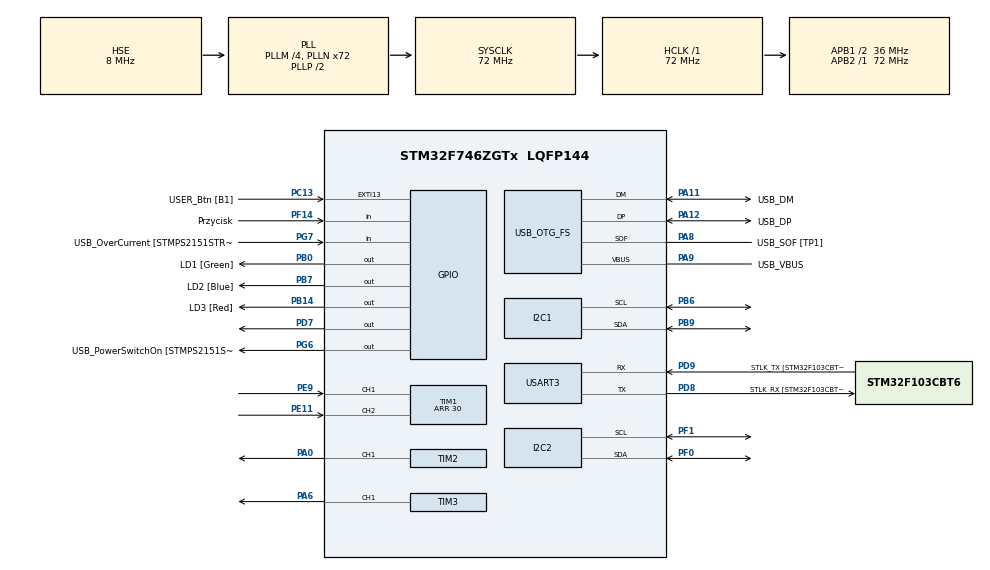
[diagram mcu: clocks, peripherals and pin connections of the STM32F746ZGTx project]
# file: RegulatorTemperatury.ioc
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I2C1.Timing=0x00808CD2
I2C2.Timing=0x00808CD2
Mcu.Family=STM32F7
Mcu.Name=STM32F746ZGTx
Mcu.Package=LQFP144
NVIC.PriorityGroup=NVIC_PRIORITYGROUP_4
NVIC.USART3_IRQn=true\:0\:0\:false\:false\:true\:true\:true\:true
PA0/WKUP.Signal=S_TIM2_CH1_ETR
PA1.GPIO_Label=RMII_REF_CLK [LAN8742A-CZ-TR_REFCLK0]
PA1.Signal=ETH_REF_CLK
PA10.GPIO_Label=USB_ID
PA10.Signal=USB_OTG_FS_ID
PA11.GPIO_Label=USB_DM
PA11.Mode=Device_Only
PA11.Signal=USB_OTG_FS_DM
PA12.GPIO_Label=USB_DP
PA12.Mode=Device_Only
PA12.Signal=USB_OTG_FS_DP
PA13.GPIO_Label=TMS
PA13.Mode=Serial_Wire
PA13.Signal=SYS_JTMS-SWDIO
PA14.GPIO_Label=TCK
PA14.Mode=Serial_Wire
PA14.Signal=SYS_JTCK-SWCLK
PA2.GPIO_Label=RMII_MDIO [LAN8742A-CZ-TR_MDIO]
PA2.Signal=ETH_MDIO
PA6.Signal=S_TIM3_CH1
PA7.GPIO_Label=RMII_CRS_DV [LAN8742A-CZ-TR_CRS_DV]
PA7.Signal=ETH_CRS_DV
PA8.GPIO_Label=USB_SOF [TP1]
PA8.Mode=Activate_SOF_FS
PA8.Signal=USB_OTG_FS_SOF
PA9.GPIO_Label=USB_VBUS
PA9.Mode=Activate_VBUS
PA9.Signal=USB_OTG_FS_VBUS
PB0.GPIO_Label=LD1 [Green]
PB0.Signal=GPIO_Output
PB13.GPIO_Label=RMII_TXD1 [LAN8742A-CZ-TR_TXD1]
PB13.Signal=ETH_TXD1
PB14.GPIO_Label=LD3 [Red]
PB14.Signal=GPIO_Output
PB3.GPIO_Label=SW0
PB3.Signal=SYS_JTDO-SWO
PB6.Mode=I2C
PB6.Signal=I2C1_SCL
PB7.GPIO_Label=LD2 [Blue]
PB7.Signal=GPIO_Output
PB9.Mode=I2C
PB9.Signal=I2C1_SDA
PC1.GPIO_Label=RMII_MDC [LAN8742A-CZ-TR_MDC]
PC1.Signal=ETH_MDC
PC13.GPIO_Label=USER_Btn [B1]
PC13.Signal=GPXTI13
PC14/OSC32_IN.Mode=LSE-External-Oscillator
PC14/OSC32_IN.Signal=RCC_OSC32_IN
PC15/OSC32_OUT.Mode=LSE-External-Oscillator
PC15/OSC32_OUT.Signal=RCC_OSC32_OUT
PC4.GPIO_Label=RMII_RXD0 [LAN8742A-CZ-TR_RXD0]
PC4.Signal=ETH_RXD0
PC5.GPIO_Label=RMII_RXD1 [LAN8742A-CZ-TR_RXD1]
PC5.Signal=ETH_RXD1
PD7.Signal=GPIO_Output
PD8.GPIO_Label=STLK_RX [STM32F103CBT6_PA3]
PD8.GPIO_PuPd=GPIO_PULLUP
PD8.Mode=Asynchronous
PD8.Signal=USART3_TX
PD9.GPIO_Label=STLK_TX [STM32F103CBT6_PA2]
PD9.GPIO_PuPd=GPIO_PULLUP
PD9.Mode=Asynchronous
PD9.Signal=USART3_RX
PE11.Signal=S_TIM1_CH2
PE9.Signal=S_TIM1_CH1
PF0.Mode=I2C
PF0.Signal=I2C2_SDA
PF1.Mode=I2C
PF1.Signal=I2C2_SCL
PF14.GPIO_Label=Przycisk
PF14.GPIO_PuPd=GPIO_PULLUP
PF14.Signal=GPIO_Input
PG11.GPIO_Label=RMII_TX_EN [LAN8742A-CZ-TR_TXEN]
PG11.Signal=ETH_TX_EN
PG13.GPIO_Label=RMII_TXD0 [LAN8742A-CZ-TR_TXD0]
PG13.Signal=ETH_TXD0
PG6.GPIO_Label=USB_PowerSwitchOn [STMPS2151STR_EN]
PG6.Signal=GPIO_Output
PG7.GPIO_Label=USB_OverCurrent [STMPS2151STR_FAULT]
PG7.Signal=GPIO_Input
PH0/OSC_IN.GPIO_Label=MCO [STM32F103CBT6_PA8]
PH0/OSC_IN.Mode=HSE-External-Clock-Source
PH0/OSC_IN.Signal=RCC_OSC_IN
PH1/OSC_OUT.Mode=HSE-External-Clock-Source
PH1/OSC_OUT.Signal=RCC_OSC_OUT
ProjectManager.HeapSize=0x200
ProjectManager.StackSize=0x400
ProjectManager.TargetToolchain=STM32CubeIDE
RCC.48MHZClocksFreq_Value=24000000
RCC.AHBFreq_Value=72000000
RCC.APB1CLKDivider=RCC_HCLK_DIV2
RCC.APB1Freq_Value=36000000
RCC.APB1TimFreq_Value=72000000
RCC.APB2Freq_Value=72000000
RCC.APB2TimFreq_Value=72000000
RCC.CortexFreq_Value=72000000
RCC.HCLKFreq_Value=72000000
RCC.HSE_VALUE=8000000
RCC.HSI_VALUE=16000000
RCC.PLLM=4
RCC.PLLMUL=RCC_PLL_MUL9
RCC.PLLN=72
RCC.PLLQ=3
RCC.PRESCALERUSB=RCC_USBCLKSOURCE_PLL_DIV1_5
RCC.SYSCLKFreq_VALUE=72000000
RCC.SYSCLKSource=RCC_SYSCLKSOURCE_PLLCLK
RCC.SYSCLKSourceVirtual=RCC_SYSCLKSOURCE_PLLCLK
RCC.USBFreq_Value=48000000
RCC.VCOOutputFreq_Value=144000000
SH.S_TIM1_CH1.0=TIM1_CH1,Encoder_Interface
SH.S_TIM1_CH2.0=TIM1_CH2,Encoder_Interface
SH.S_TIM2_CH1_ETR.0=TIM2_CH1,PWM Generation1 CH1
SH.S_TIM3_CH1.0=TIM3_CH1,PWM Generation1 CH1
TIM1.Period=30
TIM2.Channel-PWM\ Generation1\ CH1=TIM_CHANNEL_1
TIM2.Period=49
TIM3.Channel-PWM\ Generation1\ CH1=TIM_CHANNEL_1
TIM3.Period=49
USART3.VirtualMode-Asynchronous=VM_ASYNC
USB_OTG_FS.VirtualMode=Device_Only
VP_TIM2_VS_ClockSourceINT.Mode=Internal
VP_TIM3_VS_ClockSourceINT.Mode=Internal
board=NUCLEO-F746ZG

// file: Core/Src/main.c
/* USER CODE BEGIN Header */
/**
  ******************************************************************************
  * @file           : main.c
  * @brief          : Main program body
  ******************************************************************************
  * @attention
  *
  * Copyright (c) 2024 STMicroelectronics.
  * All rights reserved.
  *
  * This software is licensed under terms that can be found in the LICENSE file
  * in the root directory of this software component.
  * If no LICENSE file comes with this software, it is provided AS-IS.
  *
  ******************************************************************************
  */
/* USER CODE END Header */
#include "main.h"

/* USER CODE BEGIN Includes */
#include "BMPXX80.h"
#include "i2c-lcd.h"

#include <stdio.h>
#include <string.h>
#include <stdbool.h>
#include <stdlib.h>
/* USER CODE END Includes */

/* USER CODE BEGIN PM */
#define COUNTOF(__BUFFER__) (sizeof(__BUFFER__)/sizeof(*(__BUFFER__)))
/* USER CODE END PM */

I2C_HandleTypeDef hi2c1;
I2C_HandleTypeDef hi2c2;

TIM_HandleTypeDef htim1;
TIM_HandleTypeDef htim2;
TIM_HandleTypeDef htim3;

UART_HandleTypeDef huart3;

PCD_HandleTypeDef hpcd_USB_OTG_FS;

/* USER CODE BEGIN PV */
float temperature, huminidity;
float temp_zadana=25.0;
int32_t pressure;
char tx_zadana[2];
bool sterowanie = true;
bool button = 0;
bool good_number = true;
float temp_poczatkowa = 20.0;
char tekst[30];
/* USER CODE END PV */

void SystemClock_Config(void);
static void MX_GPIO_Init(void);
static void MX_USART3_UART_Init(void);
static void MX_USB_OTG_FS_PCD_Init(void);
static void MX_I2C1_Init(void);
static void MX_I2C2_Init(void);
static void MX_TIM1_Init(void);
static void MX_TIM2_Init(void);
static void MX_TIM3_Init(void);

/* USER CODE BEGIN 0 */
float dt=1,  pid_output;

typedef struct{
	float Kp;
	float Ki;
	float Kd;
	float dt;
	float previous_error, previous_integral;
}pid_t;

float calculate_pid(pid_t* pid, float yr, float y){
	float u=0, P, I, D, e, integral, derivative;

	e = yr-y;
	//proportional part
	P = pid->Kp * e;

	//integral part
	integral = pid->previous_integral + (e+pid->previous_error);
	if(integral > 500.0) integral = 500.0;
	if(integral < -500.0) integral = -500.0;
	pid->previous_integral = integral;
	I = pid->Ki*integral*(pid->dt/2.0);

	//derivative part
	derivative = (e - pid->previous_error)/pid->dt;
	pid->previous_error = e;
	D = pid->Kd*derivative;
	//sum of all parts
	u = (P  + I + D); //without saturation
	if (u > 49.0)
	{
		u = 49.0;
	}
	else if (u < -49)
	{
		u = -49;
	}
	return u;
}

void lcd_zakres()
{
	lcd_clear();
	lcd_put_cur(0, 0);
	lcd_send_string("Wprowadz wartosc");
	lcd_put_cur(1, 0);
	sprintf((char*)tekst, "z zakresu %.f-%.fC", temp_poczatkowa, temp_poczatkowa+15.0);
	lcd_send_string(tekst);
	good_number = true;
	HAL_Delay(2000);
}

/* USER CODE END 0 */

int main(void)
{
  /* USER CODE BEGIN 1 */
  #define MAX_LENGTH 30
  char text[MAX_LENGTH];
  /* USER CODE END 1 */

  /* MCU Configuration--------------------------------------------------------*/

  /* Reset of all peripherals, Initializes the Flash interface and the Systick. */
  HAL_Init();

  /* Configure the system clock */
  SystemClock_Config();

  /* Initialize all configured peripherals */
  MX_GPIO_Init();
  MX_USART3_UART_Init();
  MX_USB_OTG_FS_PCD_Init();
  MX_I2C1_Init();
  MX_I2C2_Init();
  MX_TIM1_Init();
  MX_TIM2_Init();
  MX_TIM3_Init();
  /* USER CODE BEGIN 2 */
  BMP280_Init(&hi2c2, BMP280_TEMPERATURE_16BIT, BMP280_STANDARD, BMP280_FORCEDMODE);
  lcd_init ();
  lcd_send_string ("Czujnik BMP280");
  HAL_Delay(100);
  lcd_put_cur(1, 0);
  lcd_send_string("I2C1-BMP,I2C4-LCD");
  HAL_Delay(2000);
  HAL_TIM_PWM_Start(&htim2, TIM_CHANNEL_1);
  HAL_TIM_PWM_Start(&htim3, TIM_CHANNEL_1);
  HAL_TIM_Encoder_Start(&htim1, TIM_CHANNEL_ALL);
  pid_t pid1 = { .Kp=42.71, .Ki=0.1323, .Kd=0.0, .dt=dt, .previous_error=0, .previous_integral=0};

  /* USER CODE END 2 */

  /* Infinite loop */
  while (1)
  {

    /* USER CODE BEGIN 3 */
	BMP280_ReadTemperatureAndPressure(&temperature, &pressure);
	sprintf((char*)text, "%.2f, \n\r", temperature);
	if (HAL_GPIO_ReadPin(Przycisk_GPIO_Port, Przycisk_Pin) == GPIO_PIN_RESET)
	{
		sterowanie = !sterowanie;
		while (HAL_GPIO_ReadPin(Przycisk_GPIO_Port, Przycisk_Pin) == GPIO_PIN_RESET)
		{
			BMP280_ReadTemperatureAndPressure(&temperature, &pressure);
	 	}
	}
	if(sterowanie)
	{
		HAL_UART_Transmit(&huart3, (uint8_t*)text, strlen(text), 800);
		temp_zadana = (float)__HAL_TIM_GET_COUNTER(&htim1)/2 + temp_poczatkowa;
	}
	else
	{
		HAL_UART_Receive_IT(&huart3, (uint8_t*)tx_zadana, 2);
		if (!good_number)
		{
			lcd_zakres();
		}
	}
	lcd_clear ();
	lcd_put_cur(0, 0);
	sprintf((char*)text, "Temp.  %.2f  C", temperature);
	lcd_send_string(text);
	lcd_put_cur(1, 0);

	sprintf((char*)text, "T_zad. %.2f  C", temp_zadana);
	lcd_send_string(text);

	pid_output = calculate_pid(&pid1, temp_zadana, temperature);
	__HAL_TIM_SET_COMPARE(&htim2, TIM_CHANNEL_1, (int)pid_output);
	if(pid_output>0.0)
	{

		__HAL_TIM_SET_COMPARE(&htim2, TIM_CHANNEL_1, (int)pid_output);
		__HAL_TIM_SET_COMPARE(&htim3, TIM_CHANNEL_1, 0);
	}
	else
	{
		__HAL_TIM_SET_COMPARE(&htim3, TIM_CHANNEL_1, (-1)*(int)pid_output);
		__HAL_TIM_SET_COMPARE(&htim2, TIM_CHANNEL_1, 0);
	}
	HAL_Delay(1000);

  }
  /* USER CODE END 3 */
}

void SystemClock_Config(void)
{
  RCC_OscInitTypeDef RCC_OscInitStruct = {0};
  RCC_ClkInitTypeDef RCC_ClkInitStruct = {0};

  /** Configure LSE Drive Capability
  */
  HAL_PWR_EnableBkUpAccess();

  /** Configure the main internal regulator output voltage
  */
  __HAL_RCC_PWR_CLK_ENABLE();
  __HAL_PWR_VOLTAGESCALING_CONFIG(PWR_REGULATOR_VOLTAGE_SCALE3);

  /** Initializes the RCC Oscillators according to the specified parameters
  * in the RCC_OscInitTypeDef structure.
  */
  RCC_OscInitStruct.OscillatorType = RCC_OSCILLATORTYPE_HSE;
  RCC_OscInitStruct.HSEState = RCC_HSE_BYPASS;
  RCC_OscInitStruct.PLL.PLLState = RCC_PLL_ON;
  RCC_OscInitStruct.PLL.PLLSource = RCC_PLLSOURCE_HSE;
  RCC_OscInitStruct.PLL.PLLM = 4;
  RCC_OscInitStruct.PLL.PLLN = 72;
  RCC_OscInitStruct.PLL.PLLP = RCC_PLLP_DIV2;
  RCC_OscInitStruct.PLL.PLLQ = 3;
  if (HAL_RCC_OscConfig(&RCC_OscInitStruct) != HAL_OK)
  {
    Error_Handler();
  }

  /** Initializes the CPU, AHB and APB buses clocks
  */
  RCC_ClkInitStruct.ClockType = RCC_CLOCKTYPE_HCLK|RCC_CLOCKTYPE_SYSCLK
                              |RCC_CLOCKTYPE_PCLK1|RCC_CLOCKTYPE_PCLK2;
  RCC_ClkInitStruct.SYSCLKSource = RCC_SYSCLKSOURCE_PLLCLK;
  RCC_ClkInitStruct.AHBCLKDivider = RCC_SYSCLK_DIV1;
  RCC_ClkInitStruct.APB1CLKDivider = RCC_HCLK_DIV2;
  RCC_ClkInitStruct.APB2CLKDivider = RCC_HCLK_DIV1;

  if (HAL_RCC_ClockConfig(&RCC_ClkInitStruct, FLASH_LATENCY_2) != HAL_OK)
  {
    Error_Handler();
  }
}

static void MX_I2C1_Init(void)
{

  hi2c1.Instance = I2C1;
  hi2c1.Init.Timing = 0x00808CD2;
  hi2c1.Init.OwnAddress1 = 0;
  hi2c1.Init.AddressingMode = I2C_ADDRESSINGMODE_7BIT;
  hi2c1.Init.DualAddressMode = I2C_DUALADDRESS_DISABLE;
  hi2c1.Init.OwnAddress2 = 0;
  hi2c1.Init.OwnAddress2Masks = I2C_OA2_NOMASK;
  hi2c1.Init.GeneralCallMode = I2C_GENERALCALL_DISABLE;
  hi2c1.Init.NoStretchMode = I2C_NOSTRETCH_DISABLE;
  if (HAL_I2C_Init(&hi2c1) != HAL_OK)
  {
    Error_Handler();
  }

  /** Configure Analogue filter
  */
  if (HAL_I2CEx_ConfigAnalogFilter(&hi2c1, I2C_ANALOGFILTER_ENABLE) != HAL_OK)
  {
    Error_Handler();
  }

  /** Configure Digital filter
  */
  if (HAL_I2CEx_ConfigDigitalFilter(&hi2c1, 0) != HAL_OK)
  {
    Error_Handler();
  }

}

static void MX_I2C2_Init(void)
{

  hi2c2.Instance = I2C2;
  hi2c2.Init.Timing = 0x00808CD2;
  hi2c2.Init.OwnAddress1 = 0;
  hi2c2.Init.AddressingMode = I2C_ADDRESSINGMODE_7BIT;
  hi2c2.Init.DualAddressMode = I2C_DUALADDRESS_DISABLE;
  hi2c2.Init.OwnAddress2 = 0;
  hi2c2.Init.OwnAddress2Masks = I2C_OA2_NOMASK;
  hi2c2.Init.GeneralCallMode = I2C_GENERALCALL_DISABLE;
  hi2c2.Init.NoStretchMode = I2C_NOSTRETCH_DISABLE;
  if (HAL_I2C_Init(&hi2c2) != HAL_OK)
  {
    Error_Handler();
  }

  /** Configure Analogue filter
  */
  if (HAL_I2CEx_ConfigAnalogFilter(&hi2c2, I2C_ANALOGFILTER_ENABLE) != HAL_OK)
  {
    Error_Handler();
  }

  /** Configure Digital filter
  */
  if (HAL_I2CEx_ConfigDigitalFilter(&hi2c2, 0) != HAL_OK)
  {
    Error_Handler();
  }

}

static void MX_TIM1_Init(void)
{

  TIM_Encoder_InitTypeDef sConfig = {0};
  TIM_MasterConfigTypeDef sMasterConfig = {0};

  htim1.Instance = TIM1;
  htim1.Init.Prescaler = 0;
  htim1.Init.CounterMode = TIM_COUNTERMODE_UP;
  htim1.Init.Period = 30;
  htim1.Init.ClockDivision = TIM_CLOCKDIVISION_DIV1;
  htim1.Init.RepetitionCounter = 0;
  htim1.Init.AutoReloadPreload = TIM_AUTORELOAD_PRELOAD_DISABLE;
  sConfig.EncoderMode = TIM_ENCODERMODE_TI1;
  sConfig.IC1Polarity = TIM_ICPOLARITY_RISING;
  sConfig.IC1Selection = TIM_ICSELECTION_DIRECTTI;
  sConfig.IC1Prescaler = TIM_ICPSC_DIV1;
  sConfig.IC1Filter = 0;
  sConfig.IC2Polarity = TIM_ICPOLARITY_RISING;
  sConfig.IC2Selection = TIM_ICSELECTION_DIRECTTI;
  sConfig.IC2Prescaler = TIM_ICPSC_DIV1;
  sConfig.IC2Filter = 0;
  if (HAL_TIM_Encoder_Init(&htim1, &sConfig) != HAL_OK)
  {
    Error_Handler();
  }
  sMasterConfig.MasterOutputTrigger = TIM_TRGO_RESET;
  sMasterConfig.MasterOutputTrigger2 = TIM_TRGO2_RESET;
  sMasterConfig.MasterSlaveMode = TIM_MASTERSLAVEMODE_DISABLE;
  if (HAL_TIMEx_MasterConfigSynchronization(&htim1, &sMasterConfig) != HAL_OK)
  {
    Error_Handler();
  }

}

static void MX_TIM2_Init(void)
{

  TIM_ClockConfigTypeDef sClockSourceConfig = {0};
  TIM_MasterConfigTypeDef sMasterConfig = {0};
  TIM_OC_InitTypeDef sConfigOC = {0};

  htim2.Instance = TIM2;
  htim2.Init.Prescaler = 0;
  htim2.Init.CounterMode = TIM_COUNTERMODE_UP;
  htim2.Init.Period = 49;
  htim2.Init.ClockDivision = TIM_CLOCKDIVISION_DIV1;
  htim2.Init.AutoReloadPreload = TIM_AUTORELOAD_PRELOAD_DISABLE;
  if (HAL_TIM_Base_Init(&htim2) != HAL_OK)
  {
    Error_Handler();
  }
  sClockSourceConfig.ClockSource = TIM_CLOCKSOURCE_INTERNAL;
  if (HAL_TIM_ConfigClockSource(&htim2, &sClockSourceConfig) != HAL_OK)
  {
    Error_Handler();
  }
  if (HAL_TIM_PWM_Init(&htim2) != HAL_OK)
  {
    Error_Handler();
  }
  sMasterConfig.MasterOutputTrigger = TIM_TRGO_RESET;
  sMasterConfig.MasterSlaveMode = TIM_MASTERSLAVEMODE_DISABLE;
  if (HAL_TIMEx_MasterConfigSynchronization(&htim2, &sMasterConfig) != HAL_OK)
  {
    Error_Handler();
  }
  sConfigOC.OCMode = TIM_OCMODE_PWM1;
  sConfigOC.Pulse = 0;
  sConfigOC.OCPolarity = TIM_OCPOLARITY_HIGH;
  sConfigOC.OCFastMode = TIM_OCFAST_DISABLE;
  if (HAL_TIM_PWM_ConfigChannel(&htim2, &sConfigOC, TIM_CHANNEL_1) != HAL_OK)
  {
    Error_Handler();
  }
  HAL_TIM_MspPostInit(&htim2);

}

static void MX_TIM3_Init(void)
{

  TIM_ClockConfigTypeDef sClockSourceConfig = {0};
  TIM_MasterConfigTypeDef sMasterConfig = {0};
  TIM_OC_InitTypeDef sConfigOC = {0};

  htim3.Instance = TIM3;
  htim3.Init.Prescaler = 0;
  htim3.Init.CounterMode = TIM_COUNTERMODE_UP;
  htim3.Init.Period = 49;
  htim3.Init.ClockDivision = TIM_CLOCKDIVISION_DIV1;
  htim3.Init.AutoReloadPreload = TIM_AUTORELOAD_PRELOAD_DISABLE;
  if (HAL_TIM_Base_Init(&htim3) != HAL_OK)
  {
    Error_Handler();
  }
  sClockSourceConfig.ClockSource = TIM_CLOCKSOURCE_INTERNAL;
  if (HAL_TIM_ConfigClockSource(&htim3, &sClockSourceConfig) != HAL_OK)
  {
    Error_Handler();
  }
  if (HAL_TIM_PWM_Init(&htim3) != HAL_OK)
  {
    Error_Handler();
  }
  sMasterConfig.MasterOutputTrigger = TIM_TRGO_RESET;
  sMasterConfig.MasterSlaveMode = TIM_MASTERSLAVEMODE_DISABLE;
  if (HAL_TIMEx_MasterConfigSynchronization(&htim3, &sMasterConfig) != HAL_OK)
  {
    Error_Handler();
  }
  sConfigOC.OCMode = TIM_OCMODE_PWM1;
  sConfigOC.Pulse = 0;
  sConfigOC.OCPolarity = TIM_OCPOLARITY_HIGH;
  sConfigOC.OCFastMode = TIM_OCFAST_DISABLE;
  if (HAL_TIM_PWM_ConfigChannel(&htim3, &sConfigOC, TIM_CHANNEL_1) != HAL_OK)
  {
    Error_Handler();
  }
  HAL_TIM_MspPostInit(&htim3);

}

static void MX_USART3_UART_Init(void)
{

  huart3.Instance = USART3;
  huart3.Init.BaudRate = 115200;
  huart3.Init.WordLength = UART_WORDLENGTH_8B;
  huart3.Init.StopBits = UART_STOPBITS_1;
  huart3.Init.Parity = UART_PARITY_NONE;
  huart3.Init.Mode = UART_MODE_TX_RX;
  huart3.Init.HwFlowCtl = UART_HWCONTROL_NONE;
  huart3.Init.OverSampling = UART_OVERSAMPLING_16;
  huart3.Init.OneBitSampling = UART_ONE_BIT_SAMPLE_DISABLE;
  huart3.AdvancedInit.AdvFeatureInit = UART_ADVFEATURE_NO_INIT;
  if (HAL_UART_Init(&huart3) != HAL_OK)
  {
    Error_Handler();
  }

}

static void MX_USB_OTG_FS_PCD_Init(void)
{

  hpcd_USB_OTG_FS.Instance = USB_OTG_FS;
  hpcd_USB_OTG_FS.Init.dev_endpoints = 6;
  hpcd_USB_OTG_FS.Init.speed = PCD_SPEED_FULL;
  hpcd_USB_OTG_FS.Init.dma_enable = DISABLE;
  hpcd_USB_OTG_FS.Init.phy_itface = PCD_PHY_EMBEDDED;
  hpcd_USB_OTG_FS.Init.Sof_enable = ENABLE;
  hpcd_USB_OTG_FS.Init.low_power_enable = DISABLE;
  hpcd_USB_OTG_FS.Init.lpm_enable = DISABLE;
  hpcd_USB_OTG_FS.Init.vbus_sensing_enable = ENABLE;
  hpcd_USB_OTG_FS.Init.use_dedicated_ep1 = DISABLE;
  if (HAL_PCD_Init(&hpcd_USB_OTG_FS) != HAL_OK)
  {
    Error_Handler();
  }

}

static void MX_GPIO_Init(void)
{
  GPIO_InitTypeDef GPIO_InitStruct = {0};

  /* GPIO Ports Clock Enable */
  __HAL_RCC_GPIOC_CLK_ENABLE();
  __HAL_RCC_GPIOF_CLK_ENABLE();
  __HAL_RCC_GPIOH_CLK_ENABLE();
  __HAL_RCC_GPIOA_CLK_ENABLE();
  __HAL_RCC_GPIOB_CLK_ENABLE();
  __HAL_RCC_GPIOE_CLK_ENABLE();
  __HAL_RCC_GPIOD_CLK_ENABLE();
  __HAL_RCC_GPIOG_CLK_ENABLE();

  /*Configure GPIO pin Output Level */
  HAL_GPIO_WritePin(GPIOB, LD1_Pin|LD3_Pin|LD2_Pin, GPIO_PIN_RESET);

  /*Configure GPIO pin Output Level */
  HAL_GPIO_WritePin(USB_PowerSwitchOn_GPIO_Port, USB_PowerSwitchOn_Pin, GPIO_PIN_RESET);

  /*Configure GPIO pin Output Level */
  HAL_GPIO_WritePin(GPIOD, GPIO_PIN_7, GPIO_PIN_RESET);

  /*Configure GPIO pin : USER_Btn_Pin */
  GPIO_InitStruct.Pin = USER_Btn_Pin;
  GPIO_InitStruct.Mode = GPIO_MODE_IT_RISING;
  GPIO_InitStruct.Pull = GPIO_NOPULL;
  HAL_GPIO_Init(USER_Btn_GPIO_Port, &GPIO_InitStruct);

  /*Configure GPIO pins : RMII_MDC_Pin RMII_RXD0_Pin RMII_RXD1_Pin */
  GPIO_InitStruct.Pin = RMII_MDC_Pin|RMII_RXD0_Pin|RMII_RXD1_Pin;
  GPIO_InitStruct.Mode = GPIO_MODE_AF_PP;
  GPIO_InitStruct.Pull = GPIO_NOPULL;
  GPIO_InitStruct.Speed = GPIO_SPEED_FREQ_VERY_HIGH;
  GPIO_InitStruct.Alternate = GPIO_AF11_ETH;
  HAL_GPIO_Init(GPIOC, &GPIO_InitStruct);

  /*Configure GPIO pins : RMII_REF_CLK_Pin RMII_MDIO_Pin RMII_CRS_DV_Pin */
  GPIO_InitStruct.Pin = RMII_REF_CLK_Pin|RMII_MDIO_Pin|RMII_CRS_DV_Pin;
  GPIO_InitStruct.Mode = GPIO_MODE_AF_PP;
  GPIO_InitStruct.Pull = GPIO_NOPULL;
  GPIO_InitStruct.Speed = GPIO_SPEED_FREQ_VERY_HIGH;
  GPIO_InitStruct.Alternate = GPIO_AF11_ETH;
  HAL_GPIO_Init(GPIOA, &GPIO_InitStruct);

  /*Configure GPIO pins : LD1_Pin LD3_Pin LD2_Pin */
  GPIO_InitStruct.Pin = LD1_Pin|LD3_Pin|LD2_Pin;
  GPIO_InitStruct.Mode = GPIO_MODE_OUTPUT_PP;
  GPIO_InitStruct.Pull = GPIO_NOPULL;
  GPIO_InitStruct.Speed = GPIO_SPEED_FREQ_LOW;
  HAL_GPIO_Init(GPIOB, &GPIO_InitStruct);

  /*Configure GPIO pin : Przycisk_Pin */
  GPIO_InitStruct.Pin = Przycisk_Pin;
  GPIO_InitStruct.Mode = GPIO_MODE_INPUT;
  GPIO_InitStruct.Pull = GPIO_PULLUP;
  HAL_GPIO_Init(Przycisk_GPIO_Port, &GPIO_InitStruct);

  /*Configure GPIO pin : RMII_TXD1_Pin */
  GPIO_InitStruct.Pin = RMII_TXD1_Pin;
  GPIO_InitStruct.Mode = GPIO_MODE_AF_PP;
  GPIO_InitStruct.Pull = GPIO_NOPULL;
  GPIO_InitStruct.Speed = GPIO_SPEED_FREQ_VERY_HIGH;
  GPIO_InitStruct.Alternate = GPIO_AF11_ETH;
  HAL_GPIO_Init(RMII_TXD1_GPIO_Port, &GPIO_InitStruct);

  /*Configure GPIO pin : USB_PowerSwitchOn_Pin */
  GPIO_InitStruct.Pin = USB_PowerSwitchOn_Pin;
  GPIO_InitStruct.Mode = GPIO_MODE_OUTPUT_PP;
  GPIO_InitStruct.Pull = GPIO_NOPULL;
  GPIO_InitStruct.Speed = GPIO_SPEED_FREQ_LOW;
  HAL_GPIO_Init(USB_PowerSwitchOn_GPIO_Port, &GPIO_InitStruct);

  /*Configure GPIO pin : USB_OverCurrent_Pin */
  GPIO_InitStruct.Pin = USB_OverCurrent_Pin;
  GPIO_InitStruct.Mode = GPIO_MODE_INPUT;
  GPIO_InitStruct.Pull = GPIO_NOPULL;
  HAL_GPIO_Init(USB_OverCurrent_GPIO_Port, &GPIO_InitStruct);

  /*Configure GPIO pin : PD7 */
  GPIO_InitStruct.Pin = GPIO_PIN_7;
  GPIO_InitStruct.Mode = GPIO_MODE_OUTPUT_PP;
  GPIO_InitStruct.Pull = GPIO_NOPULL;
  GPIO_InitStruct.Speed = GPIO_SPEED_FREQ_LOW;
  HAL_GPIO_Init(GPIOD, &GPIO_InitStruct);

  /*Configure GPIO pins : RMII_TX_EN_Pin RMII_TXD0_Pin */
  GPIO_InitStruct.Pin = RMII_TX_EN_Pin|RMII_TXD0_Pin;
  GPIO_InitStruct.Mode = GPIO_MODE_AF_PP;
  GPIO_InitStruct.Pull = GPIO_NOPULL;
  GPIO_InitStruct.Speed = GPIO_SPEED_FREQ_VERY_HIGH;
  GPIO_InitStruct.Alternate = GPIO_AF11_ETH;
  HAL_GPIO_Init(GPIOG, &GPIO_InitStruct);

}

/* USER CODE BEGIN 4 */
void HAL_UART_RxCpltCallback(UART_HandleTypeDef *huart)
{
  /* Prevent unused argument(s) compilation warning */
  UNUSED(huart);

  HAL_UART_Transmit(&huart3, (uint8_t*)tx_zadana, 2, 10);
  float temp = atof(tx_zadana);
  if(temp >= temp_poczatkowa && temp <=temp_poczatkowa+15.0)
  {
	  temp_zadana = temp;
  }
  else
  {
	  good_number = false;
	  temp = temp_zadana;
  }
}
/* USER CODE END 4 */

void Error_Handler(void)
{
  __disable_irq();
  while (1)
  {
  }
}
